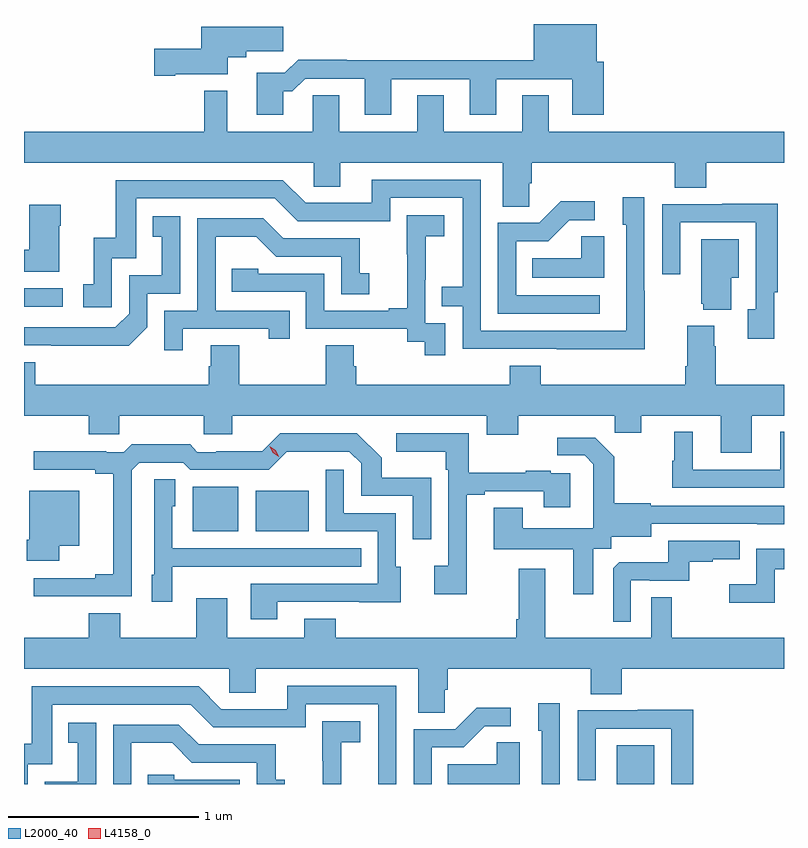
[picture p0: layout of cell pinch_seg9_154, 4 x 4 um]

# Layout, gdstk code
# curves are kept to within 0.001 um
import gdstk
lib = gdstk.Library(unit=1e-6, precision=1e-09)
def R(c, l, rs):  # rectangles x0, y0, x1, y1
    for r in rs: c.add(gdstk.rectangle(r[:2], r[2:], *l))
def P(c, l, *ps):  # polygons
    for p in ps: c.add(gdstk.Polygon(p, *l))
L2000_40 = (2000, 40)
L4158_0 = (4158, 0)

pinch_seg9_154 = lib.new_cell('pinch_seg9_154')
R(pinch_seg9_154, L2000_40, [(715.445,1210.466,715.642,1210.669), (713.213,1211.795,713.452,1212.031), (713.546,1211.795,713.824,1212.01), (712.325,1212.978,712.528,1213.074)])
P(pinch_seg9_154, L2000_40, [(713.689,1214.111),(713.738,1214.111),(713.805,1214.178),(714.119,1214.178),(714.119,1213.989),(714.259,1213.989),(714.259,1214.175),(714.671,1214.175),(714.671,1213.989),(714.811,1213.989),(714.811,1214.175),(715.211,1214.175),(715.211,1213.989),(715.376,1213.989),(715.376,1214.268),(715.339,1214.268),(715.339,1214.466),(715.007,1214.466),(715.007,1214.276),(714.023,1214.276),(714.023,1214.279),(713.768,1214.279),(713.698,1214.209),(713.549,1214.209),(713.549,1213.989),(713.689,1213.989)],
  [(713.122,1214.201),(713.398,1214.201),(713.398,1214.291),(713.494,1214.291),(713.494,1214.323),(713.689,1214.323),(713.689,1214.452),(713.258,1214.452),(713.258,1214.336),(713.01,1214.336),(713.01,1214.194),(713.122,1214.194)],
  [(714.984,1213.627),(714.998,1213.627),(714.998,1213.736),(715.751,1213.736),(715.751,1213.603),(715.916,1213.603),(715.916,1213.736),(716.325,1213.736),(716.325,1213.9),(715.087,1213.9),(715.087,1214.09),(714.947,1214.09),(714.947,1213.9),(714.535,1213.9),(714.535,1214.09),(714.395,1214.09),(714.395,1213.9),(713.983,1213.9),(713.983,1214.09),(713.844,1214.09),(713.844,1213.9),(713.395,1213.9),(713.395,1214.116),(713.274,1214.116),(713.274,1213.9),(712.325,1213.9),(712.325,1213.736),(713.85,1213.736),(713.85,1213.609),(713.989,1213.609),(713.989,1213.736),(714.845,1213.736),(714.845,1213.504),(714.984,1213.504)],
  [(715.593,1213.061),(715.59,1213.061),(715.59,1213.555),(715.475,1213.555),(715.475,1213.41),(715.494,1213.41),(715.494,1212.852),(714.729,1212.852),(714.729,1213.647),(714.155,1213.647),(714.155,1213.524),(713.808,1213.524),(713.688,1213.644),(712.809,1213.644),(712.809,1213.342),(712.691,1213.342),(712.691,1213.095),(712.638,1213.095),(712.638,1212.975),(712.788,1212.975),(712.788,1213.233),(712.917,1213.233),(712.917,1213.548),(713.646,1213.548),(713.766,1213.428),(714.252,1213.428),(714.252,1213.551),(714.633,1213.551),(714.633,1213.082),(714.523,1213.082),(714.523,1212.981),(714.633,1212.981),(714.633,1212.756),(715.593,1212.755)],
  [(715.354,1213.038),(714.915,1213.038),(714.915,1213.323),(715.084,1213.323),(715.195,1213.434),(715.33,1213.434),(715.33,1213.532),(715.151,1213.532),(715.038,1213.419),(714.819,1213.419),(714.819,1212.942),(715.354,1212.942)],
  [(716.273,1213.054),(716.291,1213.054),(716.291,1213.52),(715.999,1213.52),(715.999,1213.518),(715.683,1213.518),(715.683,1213.149),(715.779,1213.149),(715.779,1213.422),(716.175,1213.422),(716.175,1212.966),(716.135,1212.966),(716.135,1212.81),(716.273,1212.81)],
  [(712.51,1213.403),(712.518,1213.403),(712.518,1213.516),(712.352,1213.516),(712.352,1213.277),(712.325,1213.277),(712.325,1213.163),(712.51,1213.163)],
  [(714.543,1212.891),(714.438,1212.891),(714.438,1213.121),(714.44,1213.121),(714.44,1213.349),(714.538,1213.349),(714.538,1213.459),(714.34,1213.459),(714.34,1213.253),(714.341,1213.253),(714.341,1212.97),(714.245,1212.97),(714.245,1212.957),(713.904,1212.957),(713.904,1213.152),(713.559,1213.152),(713.559,1213.179),(713.419,1213.179),(713.419,1213.056),(713.808,1213.056),(713.808,1212.861),(714.342,1212.861),(714.342,1212.793),(714.435,1212.793),(714.435,1212.723),(714.543,1212.723)],
  [(712.974,1212.87),(712.974,1213.047),(713.148,1213.047),(713.148,1213.453),(713.002,1213.453),(713.002,1213.347),(713.051,1213.347),(713.051,1213.143),(712.878,1213.143),(712.878,1212.942),(712.806,1212.87),(712.325,1212.87),(712.325,1212.774),(712.876,1212.773)],
  [(713.161,1212.861),(713.612,1212.861),(713.612,1212.81),(713.723,1212.81),(713.723,1212.957),(713.334,1212.957),(713.334,1213.346),(713.548,1213.346),(713.652,1213.242),(713.994,1213.242),(713.994,1213.044),(714.142,1213.044),(714.142,1213.153),(714.093,1213.153),(714.093,1213.338),(713.689,1213.338),(713.584,1213.443),(713.238,1213.443),(713.238,1212.957),(713.064,1212.957),(713.064,1212.75),(713.161,1212.75)],
  [(715.378,1213.349),(715.257,1213.349),(715.257,1213.234),(715,1213.234),(715,1213.13),(715.378,1213.13)],
  [(716.047,1213.13),(716.086,1213.13),(716.086,1213.333),(715.889,1213.333),(715.889,1212.993),(715.901,1212.993),(715.901,1212.962),(716.047,1212.962)],
  [(716.155,1212.404),(716.325,1212.404),(716.325,1212.568),(715.965,1212.568),(715.965,1212.77),(715.957,1212.77),(715.957,1212.877),(715.817,1212.877),(715.817,1212.664),(715.805,1212.664),(715.805,1212.568),(715.046,1212.568),(715.046,1212.667),(714.881,1212.667),(714.881,1212.568),(714.074,1212.568),(714.074,1212.666),(714.061,1212.666),(714.061,1212.776),(713.914,1212.776),(713.914,1212.568),(713.457,1212.568),(713.457,1212.776),(713.309,1212.776),(713.309,1212.666),(713.297,1212.666),(713.297,1212.568),(712.385,1212.568),(712.385,1212.685),(712.325,1212.685),(712.325,1212.404),(712.667,1212.404),(712.667,1212.306),(712.827,1212.306),(712.827,1212.404),(713.272,1212.404),(713.272,1212.306),(713.422,1212.306),(713.422,1212.404),(714.761,1212.404),(714.761,1212.305),(714.925,1212.305),(714.925,1212.404),(715.435,1212.404),(715.435,1212.314),(715.573,1212.314),(715.573,1212.404),(715.991,1212.404),(715.991,1212.21),(716.155,1212.21)],
  [(716.325,1212.319),(716.306,1212.319),(716.306,1212.12),(715.846,1212.12),(715.846,1212.319),(715.748,1212.319),(715.748,1212.168),(715.737,1212.168),(715.737,1212.024),(716.325,1212.024)],
  [(712.893,1212.117),(712.932,1212.156),(713.163,1212.156),(713.199,1212.12),(713.613,1212.12),(713.708,1212.215),(714.036,1212.216),(714.099,1212.153),(714.099,1211.982),(714.372,1211.982),(714.372,1211.754),(714.468,1211.754),(714.468,1212.079),(714.207,1212.079),(714.207,1212.182),(714.076,1212.312),(713.673,1212.312),(713.579,1212.218),(713.338,1212.218),(713.338,1212.213),(713.238,1212.213),(713.199,1212.253),(712.891,1212.253),(712.851,1212.213),(712.757,1212.213),(712.757,1212.218),(712.377,1212.218),(712.377,1212.12),(712.7,1212.12),(712.7,1212.098),(712.796,1212.098),(712.796,1211.57),(712.7,1211.57),(712.7,1211.55),(712.377,1211.55),(712.377,1211.454),(712.893,1211.454)],
  [(714.655,1211.988),(714.751,1211.988),(714.751,1212.006),(715.061,1212.006),(715.061,1211.922),(715.201,1211.922),(715.201,1212.102),(715.097,1212.102),(715.097,1212.115),(714.965,1212.115),(714.965,1212.104),(714.667,1212.104),(714.667,1212.312),(714.285,1212.312),(714.285,1212.215),(714.546,1212.215),(714.546,1212.119),(714.558,1212.119),(714.558,1211.614),(714.483,1211.614),(714.483,1211.466),(714.655,1211.466)],
  [(715.321,1211.704),(715.416,1211.704),(715.416,1211.768),(715.627,1211.768),(715.627,1211.835),(716.325,1211.834),(716.325,1211.931),(715.623,1211.931),(715.623,1211.944),(715.431,1211.944),(715.431,1212.189),(715.331,1212.289),(715.131,1212.289),(715.131,1212.195),(715.275,1212.195),(715.322,1212.148),(715.322,1212.053),(715.32,1212.053),(715.32,1211.812),(714.949,1211.812),(714.949,1211.921),(714.797,1211.921),(714.797,1211.702),(715.217,1211.702),(715.217,1211.466),(715.321,1211.466)],
  [(713.659,1211.424),(714.089,1211.424),(714.089,1211.423),(714.307,1211.423),(714.307,1211.61),(714.282,1211.61),(714.282,1211.892),(714.009,1211.892),(714.009,1212.121),(713.913,1212.121),(713.913,1211.796),(714.186,1211.796),(714.186,1211.52),(713.519,1211.52),(713.519,1211.334),(713.659,1211.334)],
  [(713.106,1211.609),(713.423,1211.609),(713.423,1211.61),(714.101,1211.61),(714.101,1211.706),(713.106,1211.706),(713.106,1211.928),(713.122,1211.928),(713.122,1212.071),(713.01,1212.071),(713.01,1211.568),(712.997,1211.568),(712.997,1211.424),(713.106,1211.424)],
  [(712.51,1211.72),(712.615,1211.72),(712.615,1212.01),(712.352,1212.01),(712.352,1211.752),(712.34,1211.752),(712.34,1211.64),(712.51,1211.64)],
  [(715.518,1211.538),(715.618,1211.538),(715.618,1211.535),(715.826,1211.535),(715.826,1211.637),(715.949,1211.637),(715.949,1211.648),(716.093,1211.648),(716.093,1211.745),(715.716,1211.745),(715.716,1211.633),(715.457,1211.633),(715.425,1211.601),(715.425,1211.321),(715.518,1211.321)],
  [(716.277,1211.595),(716.325,1211.595),(716.325,1211.703),(716.178,1211.703),(716.178,1211.518),(716.037,1211.518),(716.037,1211.42),(716.277,1211.42)],
  [(714.54,1210.963),(714.554,1210.963),(714.554,1211.072),(715.307,1211.072),(715.307,1210.939),(715.472,1210.939),(715.472,1211.072),(716.325,1211.072),(716.325,1211.236),(715.735,1211.236),(715.735,1211.45),(715.626,1211.45),(715.626,1211.236),(715.069,1211.236),(715.069,1211.599),(714.929,1211.599),(714.929,1211.332),(714.917,1211.332),(714.917,1211.236),(713.965,1211.236),(713.965,1211.335),(713.801,1211.335),(713.801,1211.236),(713.395,1211.236),(713.395,1211.443),(713.231,1211.443),(713.231,1211.236),(712.831,1211.236),(712.831,1211.365),(712.667,1211.365),(712.667,1211.236),(712.325,1211.236),(712.325,1211.072),(713.406,1211.072),(713.406,1210.945),(713.545,1210.945),(713.545,1211.072),(714.401,1211.072),(714.401,1210.84),(714.54,1210.84)],
  [(712.344,1210.569),(712.473,1210.569),(712.473,1210.884),(713.202,1210.884),(713.322,1210.764),(713.808,1210.764),(713.808,1210.887),(714.189,1210.887),(714.189,1210.466),(714.285,1210.466),(714.285,1210.983),(713.711,1210.983),(713.711,1210.86),(713.364,1210.86),(713.244,1210.98),(712.365,1210.98),(712.365,1210.678),(712.325,1210.678),(712.325,1210.466),(712.344,1210.466)],
  [(715.146,1210.891),(715.031,1210.891),(715.031,1210.746),(715.05,1210.746),(715.05,1210.466),(715.146,1210.466)],
  [(714.471,1210.659),(714.64,1210.659),(714.751,1210.77),(714.886,1210.77),(714.886,1210.868),(714.707,1210.868),(714.594,1210.755),(714.375,1210.755),(714.375,1210.466),(714.471,1210.466)],
  [(715.847,1210.856),(715.555,1210.856),(715.555,1210.854),(715.239,1210.854),(715.239,1210.485),(715.335,1210.485),(715.335,1210.758),(715.731,1210.758),(715.731,1210.466),(715.847,1210.466)],
  [(713.996,1210.685),(714.094,1210.685),(714.094,1210.795),(713.896,1210.795),(713.896,1210.589),(713.897,1210.589),(713.897,1210.466),(713.996,1210.466)],
  [(712.704,1210.789),(712.558,1210.789),(712.558,1210.683),(712.607,1210.683),(712.607,1210.479),(712.434,1210.479),(712.434,1210.466),(712.704,1210.466)],
  [(712.89,1210.682),(713.104,1210.682),(713.208,1210.578),(713.55,1210.578),(713.55,1210.466),(713.698,1210.466),(713.698,1210.489),(713.649,1210.489),(713.649,1210.674),(713.245,1210.674),(713.14,1210.779),(712.794,1210.779),(712.794,1210.466),(712.89,1210.466)],
  [(714.934,1210.685),(714.813,1210.685),(714.813,1210.57),(714.556,1210.57),(714.556,1210.466),(714.934,1210.466)],
  [(713.46,1210.488),(713.115,1210.488),(713.115,1210.515),(712.975,1210.515),(712.975,1210.466),(713.46,1210.466)])
P(pinch_seg9_154, L4158_0, [(713.666,1212.189),(713.635,1212.21),(713.618,1212.244),(713.618,1212.244),(713.618,1212.244),(713.649,1212.223),(713.666,1212.19),(713.666,1212.189)])

lib.write_gds('pinch_seg9_154.gds')
